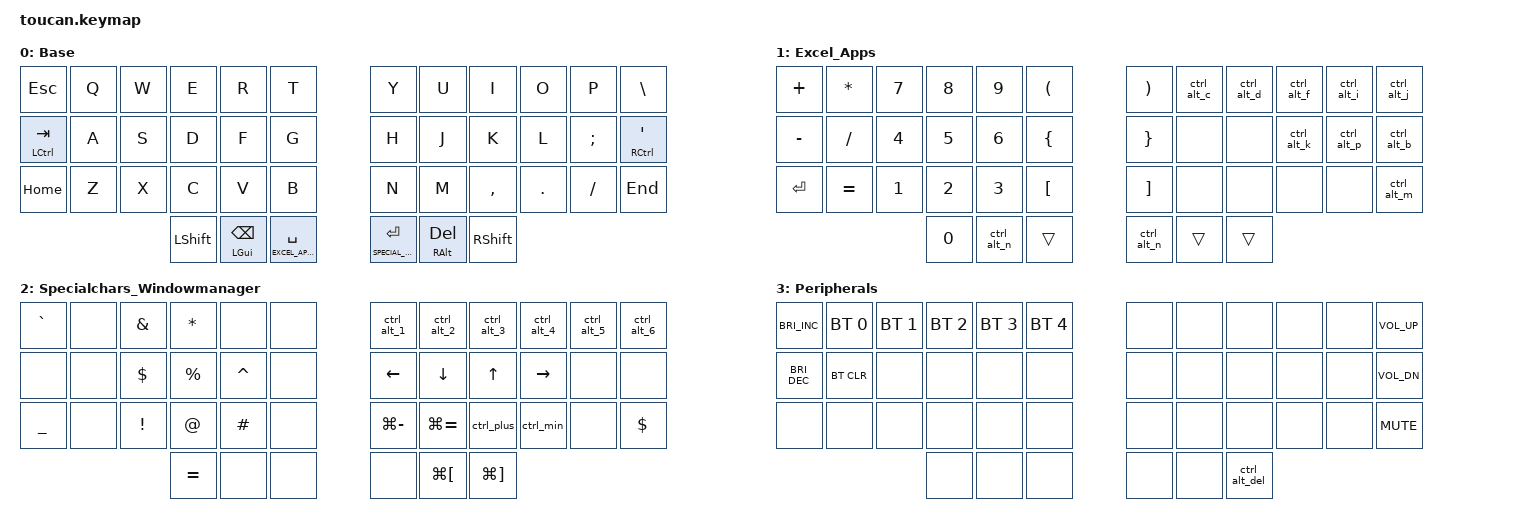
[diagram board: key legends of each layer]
#include <behaviors.dtsi>
#include <dt-bindings/zmk/keys.h>
#include <dt-bindings/zmk/bt.h>
#include <dt-bindings/zmk/outputs.h>

#define DEFAULT 0
#define EXCEL_APPS   1
#define SPECIAL_WINDOWS   2
#define PERIPHERALS   3
#define MOUSE   4

/ {
    combos {
        compatible = "zmk,combos";

         homerowmod_1_ad {
            timeout-ms = <50>;
            key-positions = <13 15>;
            bindings = <&mo PERIPHERALS>;
        };
        homerowmod_2_sf {
            timeout-ms = <50>;
            key-positions = <14 16>;
            bindings = <&kp LGUI>;
        };
        homerowmod_1_hk {
            timeout-ms = <50>;
            key-positions = <18 20>;
            bindings = <&mo PERIPHERALS>;
        };
        homerowmod_2_jl{
            timeout-ms = <50>;
            key-positions = <19 21>;
            bindings = <&kp RGUI>;
        };
    };
};
/ {
    macros {
        zed_em_kay: zed_em_kay {
            compatible = "zmk,behavior-macro";
            #binding-cells = <0>;
            bindings
                = <&macro_press &kp LSHFT>
                , <&macro_tap &kp Z &kp M &kp K>
                , <&macro_release &kp LSHFT>
                ;
        };
        gui_min: gui_min {
            compatible = "zmk,behavior-macro";
            #binding-cells = <0>;
            bindings
                = <&macro_press &kp RGUI>
                , <&macro_tap &kp MINUS>
                , <&macro_release &kp RGUI>
                ;
            };
        gui_plus: gui_plus {
            compatible = "zmk,behavior-macro";
            #binding-cells = <0>;
            bindings
                = <&macro_press &kp RGUI>
                , <&macro_tap &kp EQUAL>
                , <&macro_release &kp RGUI>
                ;
            };
        ctrl_min: ctrl_min {
            compatible = "zmk,behavior-macro";
            #binding-cells = <0>;
            bindings
                = <&macro_press &kp RCTRL>
                , <&macro_tap &kp MINUS>
                , <&macro_release &kp RCTRL>
                ;
            };
        ctrl_plus: ctrl_plus {
            compatible = "zmk,behavior-macro";
            #binding-cells = <0>;
            bindings
                = <&macro_press &kp RCTRL>
                , <&macro_tap &kp PLUS>
                , <&macro_release &kp RCTRL>
                ;
            };
        ctrl_alt_del: ctrl_alt_del {
            compatible = "zmk,behavior-macro";
            #binding-cells = <0>;
            bindings
                = <&macro_press &kp LCTRL>
                , <&macro_press &kp LALT>
                , <&macro_tap &kp DEL>
                , <&macro_release &kp LCTRL>
                , <&macro_release &kp LALT>
                ;
        };

        ctrl_alt_b: ctrl_alt_b {
            compatible = "zmk,behavior-macro";
            #binding-cells = <0>;
            bindings
                = <&macro_press &kp LCTRL>
                , <&macro_press &kp LALT>
                , <&macro_tap &kp B>
                , <&macro_release &kp LCTRL>
                , <&macro_release &kp LALT>
                ;
        };

        ctrl_alt_c: ctrl_alt_c {
            compatible = "zmk,behavior-macro";
            #binding-cells = <0>;
            bindings
                = <&macro_press &kp LCTRL>
                , <&macro_press &kp LALT>
                , <&macro_tap &kp C>
                , <&macro_release &kp LCTRL>
                , <&macro_release &kp LALT>
                ;
        };

        ctrl_alt_d: ctrl_alt_d {
            compatible = "zmk,behavior-macro";
            #binding-cells = <0>;
            bindings
                = <&macro_press &kp LCTRL>
                , <&macro_press &kp LALT>
                , <&macro_tap &kp D>
                , <&macro_release &kp LCTRL>
                , <&macro_release &kp LALT>
                ;
        };

        ctrl_alt_f: ctrl_alt_f {
            compatible = "zmk,behavior-macro";
            #binding-cells = <0>;
            bindings
                = <&macro_press &kp LCTRL>
                , <&macro_press &kp LALT>
                , <&macro_tap &kp F>
                , <&macro_release &kp LCTRL>
                , <&macro_release &kp LALT>
                ;
        };

        ctrl_alt_i: ctrl_alt_i {
            compatible = "zmk,behavior-macro";
            #binding-cells = <0>;
            bindings
                = <&macro_press &kp LCTRL>
                , <&macro_press &kp LALT>
                , <&macro_tap &kp I>
                , <&macro_release &kp LCTRL>
                , <&macro_release &kp LALT>
                ;
        };

ctrl_alt_j: ctrl_alt_j {
            compatible = "zmk,behavior-macro";
            #binding-cells = <0>;
            bindings
                = <&macro_press &kp LCTRL>
                , <&macro_press &kp LALT>
                , <&macro_tap &kp J>
                , <&macro_release &kp LCTRL>
                , <&macro_release &kp LALT>
                ;
        };

        ctrl_alt_k: ctrl_alt_k {
            compatible = "zmk,behavior-macro";
            #binding-cells = <0>;
            bindings
                = <&macro_press &kp LCTRL>
                , <&macro_press &kp LALT>
                , <&macro_tap &kp K>
                , <&macro_release &kp LCTRL>
                , <&macro_release &kp LALT>
                ;
        };

         ctrl_alt_n: ctrl_alt_n {
            compatible = "zmk,behavior-macro";
            #binding-cells = <0>;
            bindings
                = <&macro_press &kp LCTRL>
                , <&macro_press &kp LALT>
                , <&macro_tap &kp N>
                , <&macro_release &kp LCTRL>
                , <&macro_release &kp LALT>
                ;
        };

        ctrl_alt_m: ctrl_alt_m {
            compatible = "zmk,behavior-macro";
            #binding-cells = <0>;
            bindings
                = <&macro_press &kp LCTRL>
                , <&macro_press &kp LALT>
                , <&macro_tap &kp M>
                , <&macro_release &kp LCTRL>
                , <&macro_release &kp LALT>
                ;
        };

        ctrl_alt_p: ctrl_alt_p {
            compatible = "zmk,behavior-macro";
            #binding-cells = <0>;
            bindings
                = <&macro_press &kp LCTRL>
                , <&macro_press &kp LALT>
                , <&macro_tap &kp P>
                , <&macro_release &kp LCTRL>
                , <&macro_release &kp LALT>
                ;
        };

        ctrl_alt_1: ctrl_alt_1 {
            compatible = "zmk,behavior-macro";
            #binding-cells = <0>;
            bindings
                = <&macro_press &kp LCTRL>
                , <&macro_press &kp LALT>
                , <&macro_tap &kp N1>
                , <&macro_release &kp LCTRL>
                , <&macro_release &kp LALT>
                ;
        };

        ctrl_alt_2: ctrl_alt_2 {
            compatible = "zmk,behavior-macro";
            #binding-cells = <0>;
            bindings
                = <&macro_press &kp LCTRL>
                , <&macro_press &kp LALT>
                , <&macro_tap &kp N2>
                , <&macro_release &kp LCTRL>
                , <&macro_release &kp LALT>
                ;
        };

         ctrl_alt_3: ctrl_alt_3 {
            compatible = "zmk,behavior-macro";
            #binding-cells = <0>;
            bindings
                = <&macro_press &kp LCTRL>
                , <&macro_press &kp LALT>
                , <&macro_tap &kp N3>
                , <&macro_release &kp LCTRL>
                , <&macro_release &kp LALT>
                ;
        };

 ctrl_alt_4: ctrl_alt_4 {
            compatible = "zmk,behavior-macro";
            #binding-cells = <0>;
            bindings
                = <&macro_press &kp LCTRL>
                , <&macro_press &kp LALT>
                , <&macro_tap &kp N4>
                , <&macro_release &kp LCTRL>
                , <&macro_release &kp LALT>
                ;
        };

 ctrl_alt_5: ctrl_alt_5 {
            compatible = "zmk,behavior-macro";
            #binding-cells = <0>;
            bindings
                = <&macro_press &kp LCTRL>
                , <&macro_press &kp LALT>
                , <&macro_tap &kp N5>
                , <&macro_release &kp LCTRL>
                , <&macro_release &kp LALT>
                ;
        };

 ctrl_alt_6: ctrl_alt_6 {
            compatible = "zmk,behavior-macro";
            #binding-cells = <0>;
            bindings
                = <&macro_press &kp LCTRL>
                , <&macro_press &kp LALT>
                , <&macro_tap &kp N6>
                , <&macro_release &kp LCTRL>
                , <&macro_release &kp LALT>
                ;
        };

    };
};


/ {
    keymap {
        compatible = "zmk,keymap";

        base {
            display-name = "Base";
              bindings = <
   &kp ESC    &kp Q &kp W       &kp E      &kp R      &kp T   &kp Y &kp U      &kp I          &kp O         &kp P    &kp BSLH
   &mt LCTRL TAB &kp A &kp S &kp D &kp F &kp G   &kp H &kp J  &kp K     &kp L   &kp SEMI &mt RCTRL SQT
   &kp HOME     &kp Z &kp X       &kp C      &kp V      &kp B  &kp N &kp M      &kp COMMA      &kp DOT       &kp FSLH &kp END 
                  &kp LSHIFT &mt LGUI BSPC &lt EXCEL_APPS SPACE   &lt SPECIAL_WINDOWS RET &mt RALT DEL &kp RSHIFT
>;
        };

        nav {
            display-name = "Excel_Apps";
              bindings = <
 &kp PLUS    &kp ASTRK &kp N7 &kp N8 &kp N9 &kp LPAR  &kp RPAR  &ctrl_alt_c  &ctrl_alt_d &ctrl_alt_f    &ctrl_alt_i &ctrl_alt_j
   &kp MINUS   &kp FSLH  &kp N4 &kp N5 &kp N6 &kp LEFT_BRACE  &kp RIGHT_BRACE  &none &none &ctrl_alt_k &ctrl_alt_p   &ctrl_alt_b
   &kp RET     &kp EQUAL   &kp N1 &kp N2 &kp N3 &kp LEFT_BRACKET &kp RIGHT_BRACKET &none  &none  &none    &none &ctrl_alt_m
                                &kp N0    &ctrl_alt_n       &trans      &ctrl_alt_n  &trans   &trans
                        >;
        };

        sym {
            display-name = "Specialchars_Windowmanager";
              bindings = <
   &kp GRAVE  &none &kp AMPERSAND &kp ASTRK &none &none   &ctrl_alt_1 &ctrl_alt_2  &ctrl_alt_3 &ctrl_alt_4 &ctrl_alt_5 &ctrl_alt_6
   &none &none       &kp DOLLAR       &kp PERCENT       &kp CARET      &none         &kp LEFT &kp DOWN &kp UP  &kp RIGHT &none &none
   &kp UNDERSCORE &none   &kp EXCLAMATION &kp AT    &kp HASH   &none      &kp LG(MINUS) &kp LG(EQUAL)   &ctrl_plus &ctrl_min &none &kp DOLLAR  
                             &kp EQUAL &none   &none   &none  &kp LG(LEFT_BRACKET)  &kp LG(RIGHT_BRACKET)
                        >;
        };

        adj {
            display-name = "Peripherals";
             bindings = <
   &kp C_BRIGHTNESS_INC  &bt BT_SEL 0 &bt BT_SEL 1 &bt BT_SEL 2 &bt BT_SEL 3 &bt BT_SEL 4   &none &none  &none &none &none &kp K_VOL_UP
   &kp C_BRIGHTNESS_DEC  &bt BT_CLR       &none       &none       &none       &none         &none  &none &none &none &none &kp K_VOL_DN
   &none &none   &none &none   &none   &none      &none &none  &none  &none &none &kp K_MUTE
                             &none &none   &none   &none   &none   &ctrl_alt_del
                        >;
        };
        extra_1 {
                status = "reserved";
        };

        extra_2 {
                status = "reserved";
        };

        extra_3 {
                status = "reserved";
        };
    };
};
